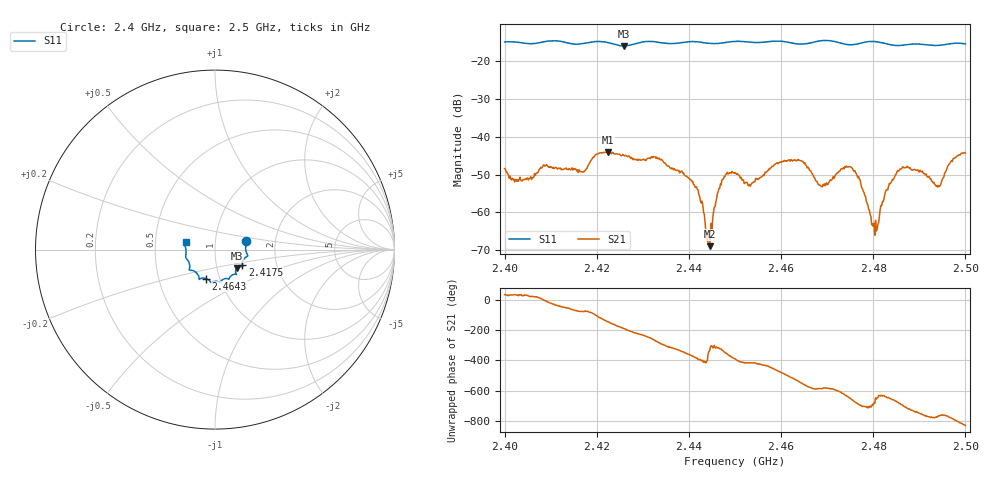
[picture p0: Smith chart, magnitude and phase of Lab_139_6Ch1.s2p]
# Hz S RI R 50
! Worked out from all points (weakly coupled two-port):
!   601 points, 2.4 GHz to 2.5 GHz, reference 50 ohm
!   highest |S21| = -44.02 dB at 2.4225 GHz (marker M1); lowest = -68.9 dB at 2.4445 GHz (marker M2)
!   lowest |S11| = -15.9 dB at 2.4258 GHz (marker M3), VSWR 1.38, Z = 62.3 - j13.2 ohm
!   |S11| at or under -10 dB: start of sweep to end of sweep
!   S12 and S22 are empty: the file has one direction only
!   S11 on the Smith chart (normalised r, x): 2.4 GHz: 1.41, +0.14; 2.4175 GHz: 1.34, -0.23; 2.4643 GHz: 0.86, -0.29; 2.5 GHz: 0.72, +0.06
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2.4e9  0.1728 0.049  0.00321 0.00204  0 0  0 0
2.402667e9  0.1748 0.0368  0.00227 0.00122  0 0  0 0
2.408833e9  0.1802 -0.0273  0.00409 -0.000575  0 0  0 0
2.416667e9  0.1529 -0.0738  0.000677 -0.00337  0 0  0 0
2.4175e9  0.152 -0.0833  0.001 -0.00347  0 0  0 0
2.4225e9  0.1486 -0.0946  -0.00526 -0.00346  0 0  0 0
2.425833e9  0.1216 -0.1031  -0.00559 0.000947  0 0  0 0
2.433333e9  0.1135 -0.1375  0.00106 0.00501  0 0  0 0
2.441333e9  0.0766 -0.1647  0.00204 -0.000717  0 0  0 0
2.4445e9  0.0599 -0.1609  0.000325 0.00015  0 0  0 0
2.446833e9  0.042 -0.1681  0.00193 0.00139  0 0  0 0
2.45e9  0.0288 -0.1809  0.00295 -0.00163  0 0  0 0
2.453333e9  0.0152 -0.1774  0.00127 -0.00183  0 0  0 0
2.464333e9  -0.0497 -0.1611  -0.00478 0.000603  0 0  0 0
2.466667e9  -0.0758 -0.1594  -0.00248 0.00215  0 0  0 0
2.469167e9  -0.0882 -0.1662  -0.00179 0.00153  0 0  0 0
2.4755e9  -0.1111 -0.1225  0.00186 0.0033  0 0  0 0
2.480333e9  -0.1437 -0.1121  0.000386 0.000317  0 0  0 0
2.483333e9  -0.1408 -0.0902  0.000484 0.00218  0 0  0 0
2.486833e9  -0.1541 -0.0568  0.00375 0.00107  0 0  0 0
2.494167e9  -0.1621 9.47e-05  0.00167 -0.00154  0 0  0 0
2.5e9  -0.1638 0.0429  -0.00173 -0.00583  0 0  0 0
